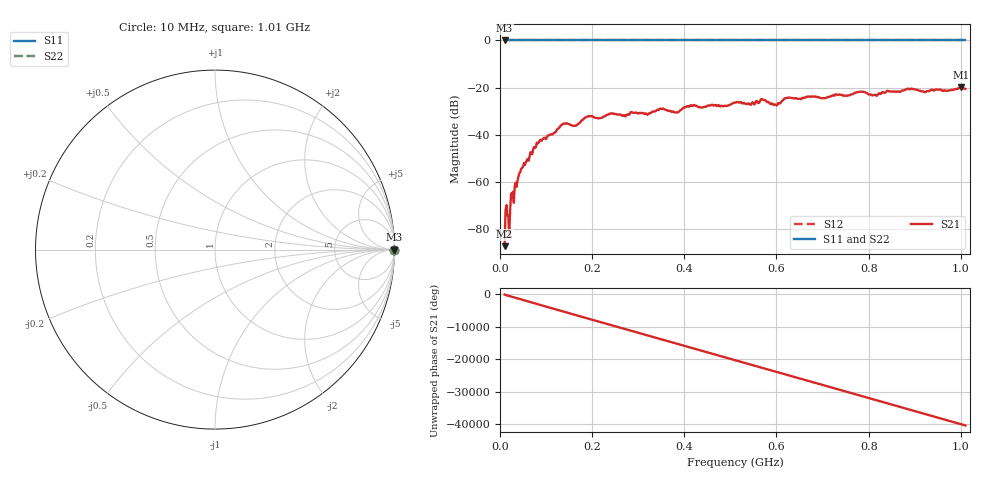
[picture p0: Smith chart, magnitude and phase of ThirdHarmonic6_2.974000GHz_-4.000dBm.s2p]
! 8/17/2025 8:25:38 AM
! C:\ANRITSUVNA\TEMP\TEMP.S2P
! CHANNEL.1
! TR.MEASUREMENT
! RAW.DATA
! RF.CORRECTION.OFF
! AVERAGING.OFF
! IF.BANDWIDTH: 5KHZ
! SWEEPTYPE:  FREQ.SWEEP(Linear)
! Reference Plane Port Info
! PORT:  PORT1  PORT2
! DISTANCE:  0  m  0  m
! TIME:  0  s  0  s
! PHASE.OFFSET:  0  deg.  0  deg.
! LOSS:  0  dB  0  dB
! REF.LOSS:  0  dB  0  dB
! REF.FREQ:  0  Hz  0  Hz
! Power Info
! POWER:  -20  dBm  -20  dBm
! EFF.POWER:  -20  dBm  -20  dBm
! SOURCE.ATTEN:  0  dB  0  dB
! TEST.ATTEN:  0  dB  0  dB
# GHZ S RI R 50.0
! FREQ.GHZ  S11RE  S11IM  S21RE  S21IM  S12RE  S12IM  S22RE  S22IM
!; PortSelection: Port_12
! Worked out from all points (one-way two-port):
!   501 points, 10 MHz to 1.01 GHz, reference 50 ohm
!   highest |S21| = -19.90 dB at 1 GHz (marker M1); lowest = -87.1 dB at 10 MHz (marker M2)
!   lowest |S11| = 0.0 dB at 10 MHz (marker M3)
!   |S11| at or under -10 dB: nowhere
!   |S22| runs from 0.0 to 0.0 dB; largest |S21 - S12| = 1.1
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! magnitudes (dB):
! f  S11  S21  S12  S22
! 10 MHz  0.0  -87.1  0.0  0.0
! 20 MHz  0.0  -82.7  0.0  0.0
! 28 MHz  0.0  -64.1  0.0  0.0
! 44 MHz  0.0  -55.7  0.0  0.0
! 84 MHz  0.0  -43.3  0.0  0.0
! 136 MHz  0.0  -35.5  0.0  0.0
! 162 MHz  0.0  -36.0  0.0  0.0
! 178 MHz  0.0  -33.7  0.0  0.0
! 194 MHz  0.0  -32.0  0.0  0.0
! 322 MHz  0.0  -31.1  0.0  0.0
! 344 MHz  0.0  -29.5  0.0  0.0
! 382 MHz  0.0  -30.4  0.0  0.0
! 410 MHz  0.0  -28.1  0.0  0.0
! 510 MHz  0.0  -26.3  0.0  0.0
! 570 MHz  0.0  -25.0  0.0  0.0
! 598 MHz  0.0  -27.1  0.0  0.0
! 622 MHz  0.0  -24.3  0.0  0.0
! 678 MHz  0.0  -23.8  0.0  0.0
! 814 MHz  0.0  -23.0  0.0  0.0
! 844 MHz  0.0  -21.5  0.0  0.0
! 1 GHz  0.0  -19.9  0.0  0.0
! 1.01 GHz  0.0  -20.5  0.0  0.0
